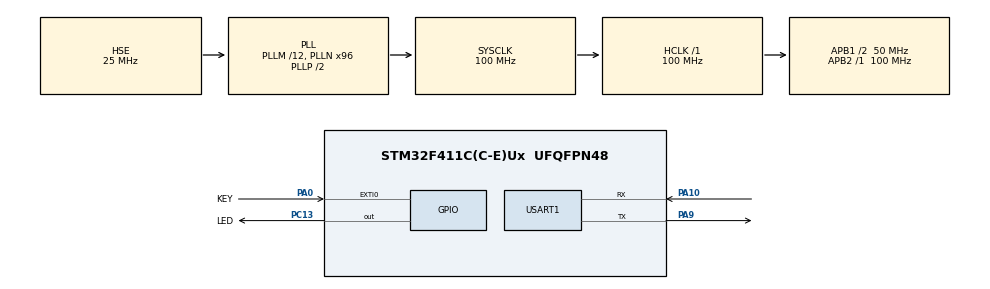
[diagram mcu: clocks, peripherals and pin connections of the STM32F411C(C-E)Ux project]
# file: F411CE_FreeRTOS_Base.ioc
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FREERTOS.Tasks01=defaultTask,24,256,StartDefaultTask,Default,NULL,Dynamic,NULL,NULL
FREERTOS.configCHECK_FOR_STACK_OVERFLOW=2
FREERTOS.configMINIMAL_STACK_SIZE=256
FREERTOS.configRECORD_STACK_HIGH_ADDRESS=1
FREERTOS.configUSE_NEWLIB_REENTRANT=1
Mcu.Family=STM32F4
Mcu.Name=STM32F411C(C-E)Ux
Mcu.Package=UFQFPN48
NVIC.EXTI0_IRQn=true\:5\:0\:false\:false\:true\:true\:true\:true
NVIC.PriorityGroup=NVIC_PRIORITYGROUP_4
NVIC.TIM1_TRG_COM_TIM11_IRQn=true\:15\:0\:false\:false\:true\:false\:false\:true
NVIC.TimeBase=TIM1_TRG_COM_TIM11_IRQn
NVIC.TimeBaseIP=TIM11
PA0-WKUP.GPIO_Label=KEY
PA0-WKUP.GPIO_PuPd=GPIO_PULLUP
PA0-WKUP.Signal=GPXTI0
PA10.Mode=Asynchronous
PA10.Signal=USART1_RX
PA13.Mode=Trace_Asynchronous_SW
PA13.Signal=SYS_JTMS-SWDIO
PA14.Mode=Trace_Asynchronous_SW
PA14.Signal=SYS_JTCK-SWCLK
PA9.Mode=Asynchronous
PA9.Signal=USART1_TX
PB3.Mode=Trace_Asynchronous_SW
PB3.Signal=SYS_JTDO-SWO
PC13-ANTI_TAMP.GPIO_Label=LED
PC13-ANTI_TAMP.Signal=GPIO_Output
PC14-OSC32_IN.Mode=LSE-External-Oscillator
PC14-OSC32_IN.Signal=RCC_OSC32_IN
PC15-OSC32_OUT.Mode=LSE-External-Oscillator
PC15-OSC32_OUT.Signal=RCC_OSC32_OUT
PH0\ -\ OSC_IN.Mode=HSE-External-Oscillator
PH0\ -\ OSC_IN.Signal=RCC_OSC_IN
PH1\ -\ OSC_OUT.Mode=HSE-External-Oscillator
PH1\ -\ OSC_OUT.Signal=RCC_OSC_OUT
ProjectManager.HeapSize=0x200
ProjectManager.StackSize=0x400
ProjectManager.TargetToolchain=STM32CubeIDE
RCC.48MHZClocksFreq_Value=50000000
RCC.AHBFreq_Value=100000000
RCC.APB1CLKDivider=RCC_HCLK_DIV2
RCC.APB1Freq_Value=50000000
RCC.APB1TimFreq_Value=100000000
RCC.APB2Freq_Value=100000000
RCC.APB2TimFreq_Value=100000000
RCC.CortexFreq_Value=100000000
RCC.HCLKFreq_Value=100000000
RCC.HSE_VALUE=25000000
RCC.HSI_VALUE=16000000
RCC.PLLM=12
RCC.PLLN=96
RCC.PLLSourceVirtual=RCC_PLLSOURCE_HSE
RCC.SYSCLKFreq_VALUE=100000000
RCC.SYSCLKSource=RCC_SYSCLKSOURCE_PLLCLK
RCC.VCOOutputFreq_Value=200000000
USART1.VirtualMode=VM_ASYNC
VP_FREERTOS_VS_CMSIS_V2.Mode=CMSIS_V2
VP_SYS_VS_tim11.Mode=TIM11
board=custom

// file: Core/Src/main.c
/* USER CODE BEGIN Header */
/**
  ******************************************************************************
  * @file           : main.c
  * @brief          : Main program body
  ******************************************************************************
  * @attention
  *
  * <h2><center>&copy; Copyright (c) 2021 STMicroelectronics.
  * All rights reserved.</center></h2>
  *
  * This software component is licensed by ST under BSD 3-Clause license,
  * the "License"; You may not use this file except in compliance with the
  * License. You may obtain a copy of the License at:
  *                        opensource.org/licenses/BSD-3-Clause
  *
  ******************************************************************************
  */
/* USER CODE END Header */
#include "main.h"
#include "cmsis_os.h"

/* USER CODE BEGIN Includes */
#include <stdio.h>
#include <string.h>
#if USE_SEGGER_SYSVIEW
#include "SEGGER_SYSVIEW.h"
////////////////////////////////////////////////////////////////////////////////
//
// RE-APPLY THE SEGGER FreeRTOS PATCH AFTER USING CUBEMX TO GENERATE SOURCE CODE
//
////////////////////////////////////////////////////////////////////////////////
#endif
/* USER CODE END Includes */

/* USER CODE BEGIN PD */
#define PROJECT_NAME              "FreeRTOS Base"
/* USER CODE END PD */

UART_HandleTypeDef huart1;

/* Definitions for defaultTask */
osThreadId_t defaultTaskHandle;
const osThreadAttr_t defaultTask_attributes = {
  .name = "defaultTask",
  .stack_size = 256 * 4,
  .priority = (osPriority_t) osPriorityNormal,
};

void SystemClock_Config(void);
static void MX_GPIO_Init(void);
static void MX_USART1_UART_Init(void);
void StartDefaultTask(void *argument);

/* USER CODE BEGIN 0 */
int _write(int file, char *ptr, int len)
{
  // block UART if it is not ready
  while(HAL_UART_GetState(&huart1) != HAL_UART_STATE_READY);
  // return written bytes
  return HAL_UART_Transmit(&huart1, (uint8_t*) ptr, len, HAL_MAX_DELAY) == 0 ? len : 0;
}

void HAL_GPIO_EXTI_Callback(uint16_t GPIO_Pin)
{
  // do something here
  printf("Key pressed\r\n");
}
/* USER CODE END 0 */

int main(void)
{

  /* MCU Configuration--------------------------------------------------------*/

  /* Reset of all peripherals, Initializes the Flash interface and the Systick. */
  HAL_Init();

  /* Configure the system clock */
  SystemClock_Config();

  /* Initialize all configured peripherals */
  MX_GPIO_Init();
  MX_USART1_UART_Init();
  /* USER CODE BEGIN 2 */
  printf("%s\r\n", PROJECT_NAME);
#if USE_SEGGER_SYSVIEW
  SEGGER_SYSVIEW_Conf();
  printf("SEGGER SYSVIEW Enabled\r\n");
#endif
  /* USER CODE END 2 */

  /* Init scheduler */
  osKernelInitialize();

  /* USER CODE BEGIN RTOS_QUEUES */
  /* add queues, ... */
#if 0
  /* USER CODE END RTOS_QUEUES */

  /* Create the thread(s) */
  /* creation of defaultTask */
  defaultTaskHandle = osThreadNew(StartDefaultTask, NULL, &defaultTask_attributes);

  /* USER CODE BEGIN RTOS_THREADS */
#endif
  /* add threads, ... */
  defaultTaskHandle = osThreadNew(StartDefaultTask, NULL, &defaultTask_attributes);
  /* USER CODE END RTOS_THREADS */

  /* Start scheduler */
  osKernelStart();

  /* We should never get here as control is now taken by the scheduler */
  /* Infinite loop */
  while (1)
  {

  }
}

void SystemClock_Config(void)
{
  RCC_OscInitTypeDef RCC_OscInitStruct = {0};
  RCC_ClkInitTypeDef RCC_ClkInitStruct = {0};

  /** Configure the main internal regulator output voltage
  */
  __HAL_RCC_PWR_CLK_ENABLE();
  __HAL_PWR_VOLTAGESCALING_CONFIG(PWR_REGULATOR_VOLTAGE_SCALE1);
  /** Initializes the RCC Oscillators according to the specified parameters
  * in the RCC_OscInitTypeDef structure.
  */
  RCC_OscInitStruct.OscillatorType = RCC_OSCILLATORTYPE_HSE;
  RCC_OscInitStruct.HSEState = RCC_HSE_ON;
  RCC_OscInitStruct.PLL.PLLState = RCC_PLL_ON;
  RCC_OscInitStruct.PLL.PLLSource = RCC_PLLSOURCE_HSE;
  RCC_OscInitStruct.PLL.PLLM = 12;
  RCC_OscInitStruct.PLL.PLLN = 96;
  RCC_OscInitStruct.PLL.PLLP = RCC_PLLP_DIV2;
  RCC_OscInitStruct.PLL.PLLQ = 4;
  if (HAL_RCC_OscConfig(&RCC_OscInitStruct) != HAL_OK)
  {
    Error_Handler();
  }
  /** Initializes the CPU, AHB and APB buses clocks
  */
  RCC_ClkInitStruct.ClockType = RCC_CLOCKTYPE_HCLK|RCC_CLOCKTYPE_SYSCLK
                              |RCC_CLOCKTYPE_PCLK1|RCC_CLOCKTYPE_PCLK2;
  RCC_ClkInitStruct.SYSCLKSource = RCC_SYSCLKSOURCE_PLLCLK;
  RCC_ClkInitStruct.AHBCLKDivider = RCC_SYSCLK_DIV1;
  RCC_ClkInitStruct.APB1CLKDivider = RCC_HCLK_DIV2;
  RCC_ClkInitStruct.APB2CLKDivider = RCC_HCLK_DIV1;

  if (HAL_RCC_ClockConfig(&RCC_ClkInitStruct, FLASH_LATENCY_3) != HAL_OK)
  {
    Error_Handler();
  }
}

static void MX_USART1_UART_Init(void)
{

  huart1.Instance = USART1;
  huart1.Init.BaudRate = 115200;
  huart1.Init.WordLength = UART_WORDLENGTH_8B;
  huart1.Init.StopBits = UART_STOPBITS_1;
  huart1.Init.Parity = UART_PARITY_NONE;
  huart1.Init.Mode = UART_MODE_TX_RX;
  huart1.Init.HwFlowCtl = UART_HWCONTROL_NONE;
  huart1.Init.OverSampling = UART_OVERSAMPLING_16;
  if (HAL_UART_Init(&huart1) != HAL_OK)
  {
    Error_Handler();
  }

}

static void MX_GPIO_Init(void)
{
  GPIO_InitTypeDef GPIO_InitStruct = {0};

  /* GPIO Ports Clock Enable */
  __HAL_RCC_GPIOC_CLK_ENABLE();
  __HAL_RCC_GPIOH_CLK_ENABLE();
  __HAL_RCC_GPIOA_CLK_ENABLE();
  __HAL_RCC_GPIOB_CLK_ENABLE();

  /*Configure GPIO pin Output Level */
  HAL_GPIO_WritePin(LED_GPIO_Port, LED_Pin, GPIO_PIN_RESET);

  /*Configure GPIO pin : LED_Pin */
  GPIO_InitStruct.Pin = LED_Pin;
  GPIO_InitStruct.Mode = GPIO_MODE_OUTPUT_PP;
  GPIO_InitStruct.Pull = GPIO_NOPULL;
  GPIO_InitStruct.Speed = GPIO_SPEED_FREQ_LOW;
  HAL_GPIO_Init(LED_GPIO_Port, &GPIO_InitStruct);

  /*Configure GPIO pin : KEY_Pin */
  GPIO_InitStruct.Pin = KEY_Pin;
  GPIO_InitStruct.Mode = GPIO_MODE_IT_RISING;
  GPIO_InitStruct.Pull = GPIO_PULLUP;
  HAL_GPIO_Init(KEY_GPIO_Port, &GPIO_InitStruct);

  /* EXTI interrupt init*/
  HAL_NVIC_SetPriority(EXTI0_IRQn, 5, 0);
  HAL_NVIC_EnableIRQ(EXTI0_IRQn);

}

void StartDefaultTask(void *argument)
{
  /* USER CODE BEGIN 5 */
  char* name = pcTaskGetName(NULL);
  uint8_t counter = 0;
  /* Infinite loop */
  for(;;)
  {
    HAL_GPIO_TogglePin(LED_GPIO_Port, LED_Pin);
    printf("%s: heart beat %u\r\n", name, counter++);
    osDelay(500);
  }
  /* USER CODE END 5 */
}

void HAL_TIM_PeriodElapsedCallback(TIM_HandleTypeDef *htim)
{
  if (htim->Instance == TIM11) {
    HAL_IncTick();
  }
}

void Error_Handler(void)
{
  __disable_irq();
  while (1)
  {
  }
}

/************************ (C) COPYRIGHT STMicroelectronics *****END OF FILE****/
